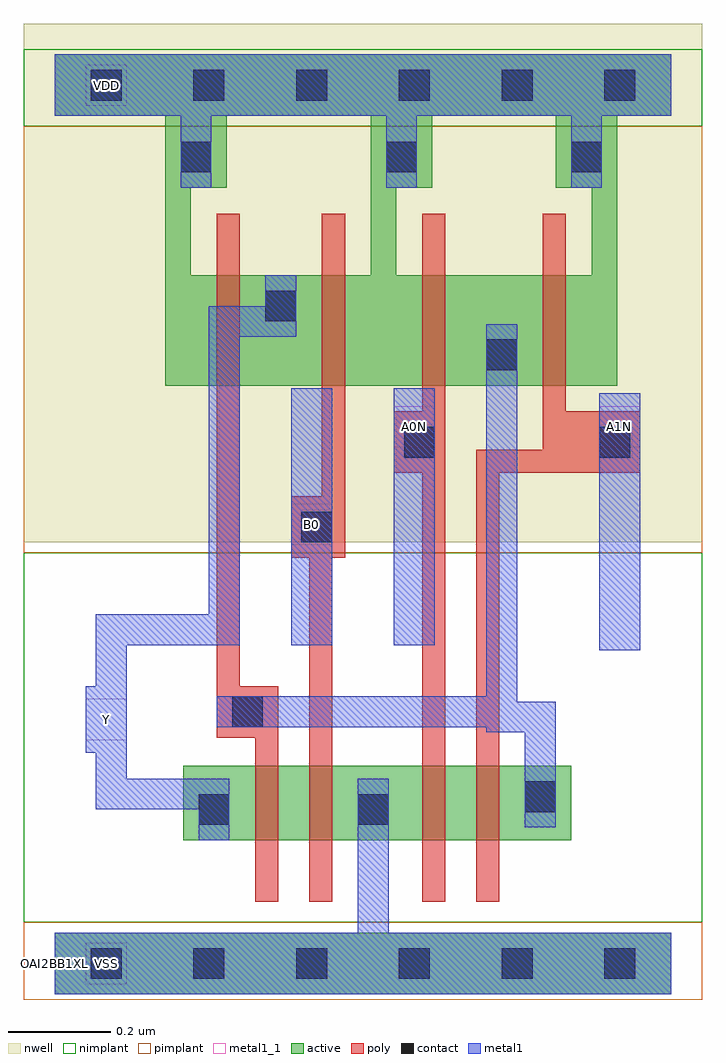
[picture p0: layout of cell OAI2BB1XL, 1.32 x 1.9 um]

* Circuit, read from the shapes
.subckt OAI2BB1XL A0N A1N B0 VDD VSS Y
M1 n1 n2 Y VSS nfet w=0.145u l=0.045u
M2 VSS B0 n1 VSS nfet w=0.145u l=0.045u
M3 n3 A0N VSS VSS nfet w=0.145u l=0.045u
M4 n2 A1N n3 VSS nfet w=0.145u l=0.045u
M5 Y n2 VDD VDD pfet w=0.215u l=0.045u
M6 VDD B0 Y VDD pfet w=0.215u l=0.045u
M7 n2 A0N VDD VDD pfet w=0.215u l=0.045u
M8 VDD A1N n2 VDD pfet w=0.215u l=0.045u
.ends

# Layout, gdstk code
import gdstk
lib = gdstk.Library(unit=1e-6, precision=5e-10)
def R(c, l, rs):  # rectangles x0, y0, x1, y1
    for r in rs: c.add(gdstk.rectangle(r[:2], r[2:], *l))
def A(c, l, x, y, w, h, nx, ny, dx, dy):  # array of equal rectangles
    R(c, l, [(x+i*dx, y+j*dy, x+i*dx+w, y+j*dy+h) for i in range(nx) for j in range(ny)])
def P(c, l, *ps):  # polygons
    for p in ps: c.add(gdstk.Polygon(p, *l))
active = (1, 0)
nwell = (2, 0)
poly = (3, 0)
nimplant = (4, 0)
pimplant = (5, 0)
contact = (6, 0)
metal1 = (7, 0)
metal1_1 = (7, 1)

oai2bb1xl = lib.new_cell('OAI2BB1XL')
R(oai2bb1xl, active, [(0,-0.06,1.2,0.06), (0.25,0.24,1.005,0.385)])
P(oai2bb1xl, active, [(0,1.77),(1.2,1.77),(1.2,1.65),(1.095,1.65),(1.095,1.125),(0.215,1.125),(0.215,1.65),(0.335,1.65),(0.335,1.51),(0.265,1.51),(0.265,1.34),(0.615,1.34),(0.615,1.65),(0.735,1.65),(0.735,1.51),(0.665,1.51),(0.665,1.34),(1.045,1.34),(1.045,1.51),(0.975,1.51),(0.975,1.65),(0,1.65)])
R(oai2bb1xl, nwell, [(-0.06,0.82,1.26,1.83)])
P(oai2bb1xl, poly, [(0.315,1.46),(0.36,1.46),(0.36,0.54),(0.435,0.54),(0.435,0.12),(0.39,0.12),(0.39,0.44),(0.315,0.44)],
  [(0.52,1.46),(0.565,1.46),(0.565,0.79),(0.54,0.79),(0.54,0.12),(0.495,0.12),(0.495,0.79),(0.46,0.79),(0.46,0.91),(0.52,0.91)],
  [(0.715,1.46),(0.76,1.46),(0.76,0.12),(0.715,0.12),(0.715,0.955),(0.66,0.955),(0.66,1.075),(0.715,1.075)],
  [(0.95,1.46),(0.995,1.46),(0.995,1.075),(1.14,1.075),(1.14,0.955),(0.865,0.955),(0.865,0.12),(0.82,0.12),(0.82,1),(0.95,1)])
R(oai2bb1xl, nimplant, [(-0.06,0.08,1.26,0.8), (-0.06,1.63,1.26,1.78)])
R(oai2bb1xl, pimplant, [(-0.06,-0.07,1.26,0.08), (-0.06,0.8,1.26,1.63)])
A(oai2bb1xl, contact, 0.07, -0.03, 0.06, 0.06, 6, 2, 0.2, 1.71)
R(oai2bb1xl, contact, [(0.28,0.27,0.34,0.33), (0.59,0.27,0.65,0.33), (0.915,0.295,0.975,0.355), (0.345,0.46,0.405,0.52), (0.48,0.82,0.54,0.88), (0.68,0.985,0.74,1.045), (1.06,0.985,1.12,1.045), (0.84,1.155,0.9,1.215), (0.41,1.25,0.47,1.31), (0.245,1.54,0.305,1.6), (0.645,1.54,0.705,1.6), (1.005,1.54,1.065,1.6)])
R(oai2bb1xl, metal1, [(1.06,0.61,1.14,1.11), (0.46,0.62,0.54,1.12), (0.66,0.62,0.74,1.12)])
P(oai2bb1xl, metal1, [(0,1.77),(1.2,1.77),(1.2,1.65),(1.065,1.65),(1.065,1.51),(1.005,1.51),(1.005,1.65),(0.705,1.65),(0.705,1.51),(0.645,1.51),(0.645,1.65),(0.305,1.65),(0.305,1.51),(0.245,1.51),(0.245,1.65),(0,1.65)],
  [(0.41,1.34),(0.47,1.34),(0.47,1.22),(0.36,1.22),(0.36,0.62),(0.14,0.62),(0.14,0.36),(0.34,0.36),(0.34,0.24),(0.28,0.24),(0.28,0.3),(0.08,0.3),(0.08,0.41),(0.06,0.41),(0.06,0.54),(0.08,0.54),(0.08,0.68),(0.3,0.68),(0.3,1.28),(0.41,1.28)],
  [(0.84,1.245),(0.9,1.245),(0.9,0.51),(0.975,0.51),(0.975,0.265),(0.915,0.265),(0.915,0.45),(0.84,0.45),(0.84,0.46),(0.315,0.46),(0.315,0.52),(0.84,0.52)],
  [(0.59,0.36),(0.65,0.36),(0.65,0.06),(1.2,0.06),(1.2,-0.06),(0,-0.06),(0,0.06),(0.59,0.06)])
R(oai2bb1xl, metal1_1, [(0.06,-0.04,0.14,0.04), (0.06,0.435,0.14,0.515), (0.46,0.815,0.54,0.895), (0.66,1.005,0.74,1.085), (1.06,1.005,1.14,1.085), (0.06,1.67,0.14,1.75)])
oai2bb1xl.add(gdstk.Label('Y', (0.1,0.475), layer=7, texttype=1))
oai2bb1xl.add(gdstk.Label('B0', (0.5,0.855), layer=7, texttype=1))
oai2bb1xl.add(gdstk.Label('A0N', (0.7,1.045), layer=7, texttype=1))
oai2bb1xl.add(gdstk.Label('A1N', (1.1,1.045), layer=7, texttype=1))
oai2bb1xl.add(gdstk.Label('VDD', (0.1,1.71), layer=7, texttype=1))
oai2bb1xl.add(gdstk.Label('VSS', (0.1,0), layer=7, texttype=1))
oai2bb1xl.add(gdstk.Label('OAI2BB1XL', (0,0), layer=63, texttype=0))

lib.write_gds('OAI2BB1XL.gds')
